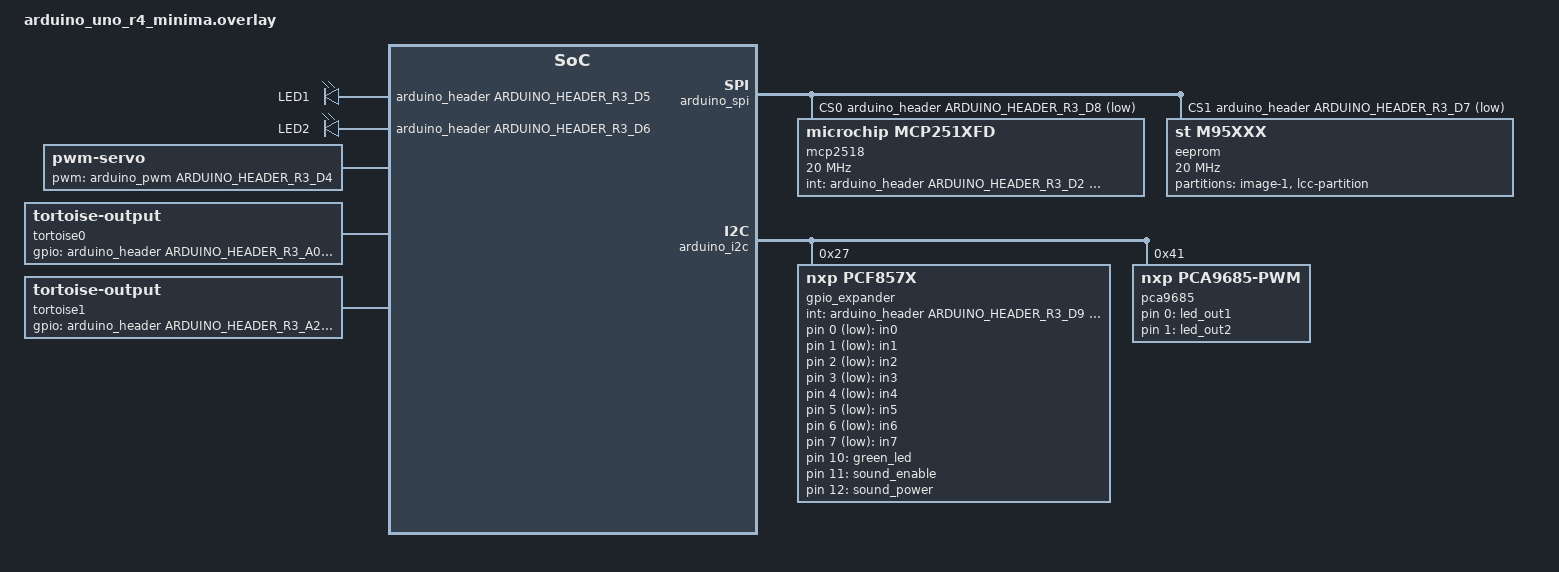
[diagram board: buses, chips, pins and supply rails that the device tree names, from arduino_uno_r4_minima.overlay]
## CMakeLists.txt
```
# SPDX-License-Identifier: Apache-2.0

cmake_minimum_required(VERSION 3.20.0)
find_package(Zephyr REQUIRED HINTS $ENV{ZEPHYR_BASE})
project(LCC-Crossing-Gate)

# Bring in the LCC library
#set(LIBLCC_ENABLE_STATIC_CONTEXT ON)
#add_subdirectory(TrainUtils/LCC)

# Zephyr does not want to play with third party libraries nicely:
# https://github.com/zephyrproject-rtos/zephyr/issues/8439
# So we do the highly annoying thing here of re-creating part of the liblcc cmake file
# in order to bring in all of the sources that we need
set(TRAINUTILS_DIR "${CMAKE_CURRENT_SOURCE_DIR}/../TrainUtils")
include(${TRAINUTILS_DIR}/LCC/lcc-version)

file(GLOB lcc-sources
    ${TRAINUTILS_DIR}/LCC/*.c
    ${TRAINUTILS_DIR}/LCC/*.h
    ${TRAINUTILS_DIR}/DCC/*.h
    ${TRAINUTILS_DIR}/DCC/*.c
)

target_sources(app PRIVATE 
	src/main.c 
	src/crossing-gate-structs.c
	src/crossing-gate-init.c
	src/crossing-gate.c
	${lcc-sources}
	../common/firmware_upgrade.c
	../common/partition_utils.c
	../common/configuration_flusher.c
)
target_include_directories(app PRIVATE
	${TRAINUTILS_DIR}/LCC
	${CMAKE_CURRENT_BINARY_DIR}/TrainUtils/LCC
	${TRAINUTILS_DIR}/DCC
	../common/
)


string(REPLACE "." ";" VERSION_LIST ${LIBLCC_VERSION})
list(GET VERSION_LIST 0 LCC_VERSION_MAJOR)
list(GET VERSION_LIST 1 LCC_VERSION_MINOR)
list(GET VERSION_LIST 2 LCC_VERSION_PATCH)
target_compile_definitions(app PRIVATE
    LIBLCC_BUILD
    LIBLCC_MAJOR=${LCC_VERSION_MAJOR}
    LIBLCC_MINOR=${LCC_VERSION_MINOR}
    LIBLCC_MICRO=${LCC_VERSION_PATCH}
    LIBLCC_HAS_CONFIG_H
)
set(LIBLCC_DEBUG 0)
set(LIBLCC_ENABLE_STATIC_CONTEXT 1)
set(LIBLCC_EVENT_LIST_STATIC_SIZE 32)
set(PROJECT_VERSION_MAJOR ${LCC_VERSION_MAJOR})
set(PROJECT_VERSION_MINOR ${LCC_VERSION_MINOR})
set(PROJECT_VERSION_PATCH ${LCC_VERSION_PATCH})
configure_file( ${TRAINUTILS_DIR}/LCC/lcc-config.h.cmake TrainUtils/LCC/lcc-config.h )
```

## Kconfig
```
mainmenu "LCC Crossing Gate"

source "Kconfig.zephyr"
config LCC_CROSSING_GATE
	default y
	bool

select EEPROM if BOARD_ARDUINO_UNO_R4
```

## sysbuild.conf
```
# Sysbuild configuration file.

# Enable MCUboot per default for this sample.
SB_CONFIG_BOOTLOADER_MCUBOOT=y
#SB_CONFIG_BOOT_SIGNATURE_TYPE_NONE=y
SB_CONFIG_BOOT_SIGNATURE_KEY_FILE="${APP_DIR}/lcc-crossing-gate.pem"
```

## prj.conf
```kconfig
CONFIG_SERIAL=y
CONFIG_SPI=y
CONFIG_SYS_CLOCK_TICKS_PER_SEC=100000
CONFIG_COUNTER=y
CONFIG_GPIO=y
CONFIG_LOG=y
CONFIG_LOG_MODE_DEFERRED=y
CONFIG_LOG_BUFFER_SIZE=2048
CONFIG_LOG_DEFAULT_LEVEL=3
CONFIG_CONSOLE=y
CONFIG_BOOTLOADER_MCUBOOT=y
CONFIG_MCUBOOT_SIGNATURE_KEY_FILE="/home/robert/train-stuff/lcc-tortoise/lcc-tortoise/lcc-crossing-gate/lcc-crossing-gate.pem"
CONFIG_ARM_MPU=y
# CONFIG_INIT_ARCH_HW_AT_BOOT is not set
CONFIG_POLL=y
CONFIG_ADC=y
CONFIG_FLASH=y
CONFIG_CAN=y
CONFIG_UART_CONSOLE=y
CONFIG_UART_LINE_CTRL=y
CONFIG_LED=y
CONFIG_PINCTRL_DYNAMIC=y
CONFIG_PWM=y
CONFIG_CONSOLE_SUBSYS=y
CONFIG_CONSOLE_GETLINE=y
CONFIG_IMG_MANAGER=y
CONFIG_MCUBOOT_UPDATE_FOOTER_SIZE=0x1800
CONFIG_FLASH_MAP=y
CONFIG_STREAM_FLASH=y
CONFIG_ROM_END_OFFSET=0x1800
CONFIG_KERNEL_BIN_NAME="lcc-crossing-gate"
CONFIG_REBOOT=y
CONFIG_LOG_BACKEND_UART=y
CONFIG_UART_ASYNC_API=y
CONFIG_DMA=y
CONFIG_I2C=y
```

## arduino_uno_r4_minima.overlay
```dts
/ {
	chosen {
		zephyr,code-partition = &slot0_partition;
		zephyr,canbus = &mcp2518;
	};

	inputs {
		compatible = "gpio-keys";
		debounce-interval-ms = <0>;

		in0: input0 {
			label = "in0";
			gpios = <&gpio_expander 0 GPIO_ACTIVE_LOW>;
		};
		in1: input1 {
			label = "in1";
			gpios = <&gpio_expander 1 GPIO_ACTIVE_LOW>;
		};
		in2: input2 {
			label = "in2";
			gpios = <&gpio_expander 2 GPIO_ACTIVE_LOW>;
		};
		in3: input3 {
			label = "in3";
			gpios = <&gpio_expander 3 GPIO_ACTIVE_LOW>;
		};
		in4: input4 {
			label = "in4";
			gpios = <&gpio_expander 4 GPIO_ACTIVE_LOW>;
		};
		in5: input5 {
			label = "in5";
			gpios = <&gpio_expander 5 GPIO_ACTIVE_LOW>;
		};
		in6: input6 {
			label = "in6";
			gpios = <&gpio_expander 6 GPIO_ACTIVE_LOW>;
		};
		in7: input7 {
			label = "in7";
			gpios = <&gpio_expander 7 GPIO_ACTIVE_LOW>;
		};
	};

	leds: leds {
		compatible = "gpio-leds";
		gold_led: led_1 {
			gpios = <&arduino_header ARDUINO_HEADER_R3_D5 GPIO_ACTIVE_HIGH>;
			label = "LED1";
		};
		blue_led: led_2 {
			gpios = <&arduino_header ARDUINO_HEADER_R3_D6 GPIO_ACTIVE_HIGH>;
			label = "LED2";
		};
		green_led: led_3 {
			gpios = <&gpio_expander 10 GPIO_ACTIVE_HIGH>;
		};

		sound_enable: sound_en {
			gpios = <&gpio_expander 11 GPIO_ACTIVE_HIGH>;
			label = "sound_enable";
		};
		sound_power: sound_pwr {
			gpios = <&gpio_expander 12 GPIO_ACTIVE_HIGH>;
			label = "sound_power";
		};

	};

	pwm_leds2 {
		compatible = "pwm-leds";
		status = "okay";

		led_out1: led_4 {
			pwms = <&pca9685 0 PWM_MSEC(1) PWM_POLARITY_NORMAL>;
		};
		led_out2: led_5 {
			pwms = <&pca9685 1 PWM_MSEC(1) PWM_POLARITY_NORMAL>;
		};
	};

	servo: servo {
		compatible = "pwm-servo";
		pwms = <&arduino_pwm ARDUINO_HEADER_R3_D4 PWM_MSEC(20) PWM_POLARITY_NORMAL>;
		min-pulse = <PWM_USEC(700)>;
		max-pulse = <PWM_USEC(2500)>;
	};

	tortoise0: tort0 {
		compatible = "tortoise-output";
		gpios = <&arduino_header ARDUINO_HEADER_R3_A0 GPIO_ACTIVE_HIGH>,
		        <&arduino_header ARDUINO_HEADER_R3_A1 GPIO_ACTIVE_HIGH>;
		status = "okay";
        };
	tortoise1: tort1 {
		compatible = "tortoise-output";
		gpios = <&arduino_header ARDUINO_HEADER_R3_A2 GPIO_ACTIVE_HIGH>,
		        <&arduino_header ARDUINO_HEADER_R3_A3 GPIO_ACTIVE_HIGH>;
		status = "okay";
        };
};

&arduino_spi {
	cs-gpios = <&arduino_header ARDUINO_HEADER_R3_D8 GPIO_ACTIVE_LOW>,
		<&arduino_header ARDUINO_HEADER_R3_D7 GPIO_ACTIVE_LOW>;

	mcp2518: mcp2518@0 {
		compatible = "microchip,mcp251xfd";
		reg = <0x0>;
		status = "okay";

		spi-max-frequency = <DT_FREQ_M(20)>;
		int-gpios = <&arduino_header ARDUINO_HEADER_R3_D2 GPIO_ACTIVE_LOW>;
		osc-freq = <DT_FREQ_M(16)>;
	};

	eeprom@1 {
		compatible = "st,m95xxx", "atmel,at25";
		reg = <0x1>;
		status = "okay";
		size = <DT_SIZE_K(256)>;
		pagesize = <256>;
		address-width = <24>;
		spi-max-frequency = <DT_FREQ_M(20)>;
		timeout = <5>;

		partitions {
			compatible = "fixed-partitions";
			#address-cells = <1>;
			#size-cells = <1>;
			slot1_partition: partition@0000 {
				label = "image-1";
				reg = <0x0000 DT_SIZE_K(156)>;
			};

			/*
			 * 2k for LCC ID data
			 */
			lcc_partition: partition@27000 {
				label = "lcc-partition";
				reg = <0x0027000 DT_SIZE_K(2)>;
			};

		};
	};

};

&flash0 {
	/delete-node/ partitions;
	partitions {
		compatible = "fixed-partitions";
		#address-cells = <1>;
		#size-cells = <1>;

		/* We have 256k of flash, so let's not worry too much about space */
		boot_partition: partition@0 {
			label = "bootloader";
			reg = <0x00000000 DT_SIZE_K(48)>;
			read-only;
		};
		slot0_partition: partition@C000 {
			label = "image-0";
			reg = <0x0000C000 DT_SIZE_K(156)>;
		};
	};
};

&arduino_i2c {
	gpio_expander: pcf8574@27 {
		compatible = "nxp,pcf857x";
		reg = <0x27>;
		gpio-controller;
		ngpios = <16>;
		#gpio-cells = <2>;
		int-gpios = <&arduino_header ARDUINO_HEADER_R3_D9 GPIO_ACTIVE_LOW>;
	};

	pca9685: pca9685@41 {
		compatible = "nxp,pca9685-pwm";
		status = "okay";
		reg = <0x41>;
		#pwm-cells = <3>;
	};
};

/*
&pwm3 {
	pinctrl-0 = <&pwm3_default>;
	pinctrl-names = "default";
	interrupts = <8 1>, <9 1>;
	interrupt-names = "gtioca", "overflow";
	status = "okay";
};
*/
```

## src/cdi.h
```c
/*
 * cdi.h
 *
 *  Created on: Mar 19, 2026
 *      Author: robert
 */

#ifndef LCC_CROSSING_GATE_SRC_CDI_H_
#define LCC_CROSSING_GATE_SRC_CDI_H_

#include "app_version.h"

const char* CDI_XML = "<?xml version='1.0'?> \
<cdi xmlns:xsi='http://www.w3.org/2001/XMLSchema-instance' xsi:noNamespaceSchemaLocation='http://openlcb.org/schema/cdi/1/1/cdi.xsd'> \
<identification> \
<manufacturer>Snowball Creek Electronics</manufacturer> \
<model>Crossing Gate Controller</model> \
<hardwareVersion>P2</hardwareVersion> \
<softwareVersion>" APP_VERSION_STRING "</softwareVersion> \
</identification> \
<acdi/> \
<segment space='251'> \
<name>Node ID</name> \
<group> \
<name>Your name and description for this node</name> \
<string size='63'> \
<name>Node Name</name> \
</string> \
<string size='64' offset='1'> \
<name>Node Description</name> \
</string> \
</group> \
</segment> \
<segment space='253'> \
<name>Routes</name> \
<group replication='16'> \
<repname>Route</repname> \
<string size='63'> \
<name>Route Name</name> \
<description>A name for this route(ex: Track 1 Westbound, Track 1 West -&gt; Track 2)</description> \
</string> \
<int size='1'> \
<name>Enabled</name> \
<description>Should this route be enabled or not?</description> \
<map> \
<relation> \
<property>0</property> \
<value>Disabled</value> \
</relation> \
<relation> \
<property>1</property> \
<value>Enabled</value> \
</relation> \
</map> \
</int> \
<group replication='4'> \
<name>Route Sensors</name> \
<repname>Sensor Inputs</repname> \
<string size='27'> \
<name>Sensor Name</name> \
<description>Sensor used for the route.  Only used for debug purposes</description> \
</string> \
<int size='1'> \
<name>Enabled</name> \
<description>Is this sensor used or not?</description> \
<map> \
<relation> \
<property>0</property> \
<value>Disabled</value> \
</relation> \
<relation> \
<property>1</property> \
<value>Enabled</value> \
</relation> \
</map> \
</int> \
<int size='1'> \
<name>Input type</name> \
<description>Inputs can be either on the board itself, or come from a remote board using Event IDs</description> \
<map> \
<relation> \
<property>0</property> \
<value>Board input</value> \
</relation> \
<relation> \
<property>1</property> \
<value>Remote input(Event ID)</value> \
</relation> \
</map> \
</int> \
<int size='1'> \
<name>Sensor input</name> \
<map> \
<relation> \
<property>0</property> \
<value>Input 1</value> \
</relation> \
<relation> \
<property>1</property> \
<value>Input 2</value> \
</relation> \
<relation> \
<property>2</property> \
<value>Input 3</value> \
</relation> \
<relation> \
<property>3</property> \
<value>Input 4</value> \
</relation> \
<relation> \
<property>4</property> \
<value>Input 5</value> \
</relation> \
<relation> \
<property>5</property> \
<value>Input 6</value> \
</relation> \
<relation> \
<property>6</property> \
<value>Input 7</value> \
</relation> \
<relation> \
<property>7</property> \
<value>Input 8</value> \
</relation> \
<relation> \
<property>8</property> \
<value>External input 0</value> \
</relation> \
<relation> \
<property>9</property> \
<value>External input 1</value> \
</relation> \
<relation> \
<property>10</property> \
<value>External input 2</value> \
</relation> \
<relation> \
<property>11</property> \
<value>External input 3</value> \
</relation> \
<relation> \
<property>12</property> \
<value>External input 4</value> \
</relation> \
<relation> \
<property>13</property> \
<value>External input 5</value> \
</relation> \
<relation> \
<property>14</property> \
<value>External input 6</value> \
</relation> \
<relation> \
<property>15</property> \
<value>External input 7</value> \
</relation> \
<relation> \
<property>16</property> \
<value>External input 10</value> \
</relation> \
<relation> \
<property>17</property> \
<value>External input 11</value> \
</relation> \
<relation> \
<property>18</property> \
<value>External input 12</value> \
</relation> \
<relation> \
<property>19</property> \
<value>External input 13</value> \
</relation> \
<relation> \
<property>20</property> \
<value>External input 14</value> \
</relation> \
<relation> \
<property>21</property> \
<value>External input 15</value> \
</relation> \
<relation> \
<property>22</property> \
<value>External input 16</value> \
</relation> \
<relation> \
<property>23</property> \
<value>External input 17</value> \
</relation> \
</map> \
</int> \
<int size='1'> \
<name>Polarity</name> \
<description>Polarity is only used if using an input on the board</description> \
<map> \
<relation> \
<property>0</property> \
<value>Normal</value> \
</relation> \
<relation> \
<property>1</property> \
<value>Reversed</value> \
</relation> \
</map> \
</int> \
<eventid offset='1'> \
<name>Event sensor on</name> \
<description>The event ID consumed by this device to indicate that the sensor is active</description> \
</eventid> \
<eventid> \
<name>Event sensor off</name> \
<description>The event ID consumed by this device to indicate that the sensor is inactive</description> \
</eventid> \
</group> \
<group replication='8'> \
<name>Switches on route</name> \
<repname>Switch Inputs</repname> \
<string size='27'> \
<name>Switch Name</name> \
<description>Switch used for the route.  Only used for debug purposes</description> \
</string> \
<int size='1'> \
<name>Enabled</name> \
<description>Is this switch used or not?</description> \
<map> \
<relation> \
<property>0</property> \
<value>Disabled</value> \
</relation> \
<relation> \
<property>1</property> \
<value>Enabled</value> \
</relation> \
</map> \
</int> \
<int size='1'> \
<name>Input type</name> \
<description>Inputs can be either on the board itself, or come from a remote board using Event IDs</description> \
<map> \
<relation> \
<property>0</property> \
<value>Board input</value> \
</relation> \
<relation> \
<property>1</property> \
<value>Remote input(Event ID)</value> \
</relation> \
</map> \
</int> \
<int size='1'> \
<name>Sensor input</name> \
<map> \
<relation> \
<property>0</property> \
<value>Input 1</value> \
</relation> \
<relation> \
<property>1</property> \
<value>Input 2</value> \
</relation> \
<relation> \
<property>2</property> \
<value>Input 3</value> \
</relation> \
<relation> \
<property>3</property> \
<value>Input 4</value> \
</relation> \
<relation> \
<property>4</property> \
<value>Input 5</value> \
</relation> \
<relation> \
<property>5</property> \
<value>Input 6</value> \
</relation> \
<relation> \
<property>6</property> \
<value>Input 7</value> \
</relation> \
<relation> \
<property>7</property> \
<value>Input 8</value> \
</relation> \
<relation> \
<property>8</property> \
<value>External input 0</value> \
</relation> \
<relation> \
<property>9</property> \
<value>External input 1</value> \
</relation> \
<relation> \
<property>10</property> \
<value>External input 2</value> \
</relation> \
<relation> \
<property>11</property> \
<value>External input 3</value> \
</relation> \
<relation> \
<property>12</property> \
<value>External input 4</value> \
</relation> \
<relation> \
<property>13</property> \
<value>External input 5</value> \
</relation> \
<relation> \
<property>14</property> \
<value>External input 6</value> \
</relation> \
<relation> \
<property>15</property> \
<value>External input 7</value> \
</relation> \
<relation> \
<property>16</property> \
<value>External input 10</value> \
</relation> \
<relation> \
<property>17</property> \
<value>External input 11</value> \
</relation> \
<relation> \
<property>18</property> \
<value>External input 12</value> \
</relation> \
<relation> \
<property>19</property> \
<value>External input 13</value> \
</relation> \
<relation> \
<property>20</property> \
<value>External input 14</value> \
</relation> \
<relation> \
<property>21</property> \
<value>External input 15</value> \
</relation> \
<relation> \
<property>22</property> \
<value>External input 16</value> \
</relation> \
<relation> \
<property>23</property> \
<value>External input 17</value> \
</relation> \
</map> \
</int> \
<int size='1'> \
<name>Polarity</name> \
<description>Polarity is only used if using an input on the board</description> \
<map> \
<relation> \
<property>0</property> \
<value>Normal</value> \
</relation> \
<relation> \
<property>1</property> \
<value>Reversed</value> \
</relation> \
</map> \
</int> \
<int size='1'> \
<name>Route position</name> \
<description>The position that the switch needs to be in for this route to be valid</description> \
<map> \
<relation> \
<property>0</property> \
<value>Normal</value> \
</relation> \
<relation> \
<property>1</property> \
<value>Reversed</value> \
</relation> \
</map> \
</int> \
<eventid> \
<name>Event switch normal</name> \
<description>The event ID consumed by this device to indicate that the switch is in the normal position</description> \
</eventid> \
<eventid> \
<name>Event switch reversed</name> \
<description>The event ID consumed by this device to indicate that the switch is in the reversed position</description> \
</eventid> \
</group> \
</group> \
</segment> \
<segment space='252'> \
<name>General Events</name> \
<eventid> \
<name>Gate Active Event</name> \
<description>This event is sent(produced) by this node when the gates are active</description> \
</eventid> \
<eventid> \
<name>Gate Deactivated Event</name> \
<description>This event is sent(produced) by this node when the gates are deactivated</description> \
</eventid> \
<eventid> \
<name>Manual Activation</name> \
<description>This event is received(consumed) by this node in order to trigger the gates to become activated</description> \
</eventid> \
<group replication='8'> \
<repname>Inputs</repname> \
<string size='24'> \
<name>Input Name</name> \
</string> \
<eventid> \
<name>Input activated</name> \
<description>This event is sent(produced) by this node when the input is activated</description> \
</eventid> \
<eventid> \
<name>Input deactivated</name> \
<description>This event is sent(produced) by this node when the input is deactivated</description> \
</eventid> \
</group> \
</segment> \
<segment space='250'> \
<name>General Config</name> \
<int size='1'> \
<name>Timeout</name> \
<description>Timeout value for the system to reset and become 'inactive.'  This value is in seconds</description> \
<min>0</min> \
<max>120</max> \
<default>25</default> \
</int> \
<int size='1'> \
<name>Bell Behavior</name> \
<description>How the bell output should behave</description> \
<map> \
<relation> \
<property>0</property> \
<value>No ring</value> \
</relation> \
<relation> \
<property>1</property> \
<value>Ring while gates lowering</value> \
</relation> \
<relation> \
<property>2</property> \
<value>Ring while gates raising</value> \
</relation> \
<relation> \
<property>3</property> \
<value>Ring while gates lowering and raising</value> \
</relation> \
<relation> \
<property>4</property> \
<value>Ring while gates are active</value> \
</relation> \
</map> \
</int> \
<int size='2'> \
<name>Bell ring time</name> \
<description>Bell ring time(in milliseconds) when gates are raising/lowering</description> \
<min>0</min> \
<max>10000</max> \
</int> \
<int size='1'> \
<name>External GPIO active</name> \
<description>Configure the external GPIO expander.  Requires reboot to take effect.</description> \
<map> \
<relation> \
<property>0</property> \
<value>Disabled</value> \
</relation> \
<relation> \
<property>1</property> \
<value>Enabled</value> \
</relation> \
</map> \
</int> \
</segment> \
<segment space='249'> \
<name>LED/Servo config</name> \
<group replication='3'> \
<repname>PWM Bank Configuration</repname> \
<int size='1'> \
<name>Bank usage</name> \
<map> \
<relation> \
<property>0</property> \
<value>LED</value> \
</relation> \
<relation> \
<property>1</property> \
<value>Servo</value> \
</relation> \
</map> \
</int> \
<int size='1'> \
<name>LED Polarity</name> \
<map> \
<relation> \
<property>0</property> \
<value>Normal(PWM to GND)</value> \
</relation> \
<relation> \
<property>1</property> \
<value>Reversed(PWM to 5v)</value> \
</relation> \
</map> \
</int> \
<int size='1'> \
<name>Output 1 Usage</name> \
<map> \
<relation> \
<property>0</property> \
<value>[LED]Phase A blink</value> \
</relation> \
<relation> \
<property>1</property> \
<value>[LED]Phase B blink</value> \
</relation> \
<relation> \
<property>20</property> \
<value>[Servo]Gate Control</value> \
</relation> \
</map> \
</int> \
<int size='1'> \
<name>Output 2 Usage</name> \
<map> \
<relation> \
<property>0</property> \
<value>[LED]Phase A blink</value> \
</relation> \
<relation> \
<property>1</property> \
<value>[LED]Phase B blink</value> \
</relation> \
<relation> \
<property>20</property> \
<value>[Servo]Gate Control</value> \
</relation> \
</map> \
</int> \
<int size='2'> \
<name>Servo 1 Up position(us)</name> \
<description>The value to set the servo to in order to put the gates into the up position</description> \
<min>1000</min> \
<max>2000</max> \
<hints> \
<slider divisions='100' immediate='yes'/> \
</hints> \
</int> \
<int size='2'> \
<name>Servo 1 Down position(us)</name> \
<description>The value to set the servo to in order to put the gates into the down position</description> \
<min>1000</min> \
<max>2000</max> \
<hints> \
<slider divisions='100' immediate='yes'/> \
</hints> \
</int> \
<int size='2'> \
<name>Servo 2 Up position(us)</name> \
<description>The value to set the servo to in order to put the gates into the up position</description> \
<min>1000</min> \
<max>2000</max> \
<hints> \
<slider divisions='100' immediate='yes'/> \
</hints> \
</int> \
<int size='2'> \
<name>Servo 2 Down position(us)</name> \
<description>The value to set the servo to in order to put the gates into the down position</description> \
<min>1000</min> \
<max>2000</max> \
<hints> \
<slider divisions='100' immediate='yes'/> \
</hints> \
</int> \
<int size='1'> \
<name>Servo speed</name> \
<description>How fast the servo should move.  1 = slowest speed, 5 = fastest speed</description> \
<min>1</min> \
<max>5</max> \
</int> \
<!-- align to 32 bytes --> \
<group offset='19'/> \
</group> \
</segment> \
</cdi>";

#endif /* LCC_CROSSING_GATE_SRC_CDI_H_ */
```

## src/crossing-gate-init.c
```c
/*
 * crossing-gate-init.c
 *
 *  Created on: Jun 14, 2025
 *      Author: robert
 */

#include <string.h>
#include <stdio.h>
#include <zephyr/kernel.h>
#include <zephyr/sys/util.h>
#include <zephyr/drivers/gpio.h>
#include <zephyr/drivers/led.h>
#include <zephyr/drivers/pwm.h>
#include <zephyr/storage/flash_map.h>
#include <zephyr/logging/log.h>

LOG_MODULE_DECLARE(crossing_gate, LOG_LEVEL_DBG);

static const struct device *gpio_expander_ext = DEVICE_DT_GET(DT_NODELABEL(gpio_expander_ext));

#include "crossing-gate-init.h"
#include "crossing-gate.h"
#include "partition_utils.h"

// The global singleton instance
struct crossing_gate crossing_gate_state = {
		.gate_flash_state = FLASH_OFF,
		.blue_button = GPIO_DT_SPEC_GET(DT_NODELABEL(blue_switch), gpios),
		.gold_button = GPIO_DT_SPEC_GET(DT_NODELABEL(gold_switch), gpios),
		.config_mode = CONFIG_MODE_NORMAL,
//		.crossing_routes = {0},
		.inputs = {
				GPIO_DT_SPEC_GET(DT_NODELABEL(in0), gpios),
				GPIO_DT_SPEC_GET(DT_NODELABEL(in1), gpios),
				GPIO_DT_SPEC_GET(DT_NODELABEL(in2), gpios),
				GPIO_DT_SPEC_GET(DT_NODELABEL(in3), gpios),
				GPIO_DT_SPEC_GET(DT_NODELABEL(in4), gpios),
				GPIO_DT_SPEC_GET(DT_NODELABEL(in5), gpios),
				GPIO_DT_SPEC_GET(DT_NODELABEL(in6), gpios),
				GPIO_DT_SPEC_GET(DT_NODELABEL(in7), gpios),
		},
		.tortoise_control = {
				{
					.gpios = {
							GPIO_DT_SPEC_GET_BY_IDX(DT_NODELABEL(tortoise0), gpios, 1),
							GPIO_DT_SPEC_GET_BY_IDX(DT_NODELABEL(tortoise0), gpios, 0)
					}
				},
				{
						.gpios = {
							GPIO_DT_SPEC_GET_BY_IDX(DT_NODELABEL(tortoise1), gpios, 1),
							GPIO_DT_SPEC_GET_BY_IDX(DT_NODELABEL(tortoise1), gpios, 0)
					},
				},
		},
		.bell = {
				.enable = GPIO_DT_SPEC_GET(DT_PATH(zephyr_user), sound_gpios),
				.time_millis = 0,
				.ring_type = BELL_RING_NONE,
		},
		.pwm_banks = {
				{
					.led_pwm = DEVICE_DT_GET(DT_NODELABEL(pwm_bank_1)),
					.servo_ch = {
							PWM_DT_SPEC_GET(DT_NODELABEL(led_out1)),
							PWM_DT_SPEC_GET(DT_NODELABEL(led_out2)),
					},
					.config = NULL,
				},
				{
					.led_pwm = DEVICE_DT_GET(DT_NODELABEL(pwm_bank_2)),
					.servo_ch = {
							PWM_DT_SPEC_GET(DT_NODELABEL(led_out3)),
							PWM_DT_SPEC_GET(DT_NODELABEL(led_out4)),
					},
					.config = NULL,
				},
				{
					.led_pwm = DEVICE_DT_GET(DT_NODELABEL(pwm_bank_3)),
					.servo_ch = {
							PWM_DT_SPEC_GET(DT_NODELABEL(led_out5)),
							PWM_DT_SPEC_GET(DT_NODELABEL(led_out6)),
					},
					.config = NULL,
				},
		},
		.tortoise_power = GPIO_DT_SPEC_GET(DT_PATH(zephyr_user), tortoise_power_gpios),
		.power_5v = GPIO_DT_SPEC_GET(DT_PATH(zephyr_user), power_5v_gpios),
		.ext_i2c_enable = GPIO_DT_SPEC_GET(DT_PATH(zephyr_user), ext_i2c_enable_gpios),
		.external_inputs = {
				GPIO_DT_SPEC_GET(DT_NODELABEL(extin0), gpios),
				GPIO_DT_SPEC_GET(DT_NODELABEL(extin1), gpios),
				GPIO_DT_SPEC_GET(DT_NODELABEL(extin2), gpios),
				GPIO_DT_SPEC_GET(DT_NODELABEL(extin3), gpios),
				GPIO_DT_SPEC_GET(DT_NODELABEL(extin4), gpios),
				GPIO_DT_SPEC_GET(DT_NODELABEL(extin5), gpios),
				GPIO_DT_SPEC_GET(DT_NODELABEL(extin6), gpios),
				GPIO_DT_SPEC_GET(DT_NODELABEL(extin7), gpios),
				GPIO_DT_SPEC_GET(DT_NODELABEL(extin8), gpios),
				GPIO_DT_SPEC_GET(DT_NODELABEL(extin9), gpios),
				GPIO_DT_SPEC_GET(DT_NODELABEL(extin10), gpios),
				GPIO_DT_SPEC_GET(DT_NODELABEL(extin11), gpios),
				GPIO_DT_SPEC_GET(DT_NODELABEL(extin12), gpios),
				GPIO_DT_SPEC_GET(DT_NODELABEL(extin13), gpios),
				GPIO_DT_SPEC_GET(DT_NODELABEL(extin14), gpios),
				GPIO_DT_SPEC_GET(DT_NODELABEL(extin15), gpios),
		},
};

static struct gpio_callback cb_data[24];

static void input_change(const struct device *dev, struct gpio_callback *cb,
		    uint32_t pins)
{
	int real_pin = -1;

	// Map between the bitmask and our pin input
	for(int bit_num = 0; bit_num < 16; bit_num++){
		if(pins == BIT(bit_num)){
			real_pin = bit_num;
		}
	}

	if(real_pin < 0){
		return;
	}

	if(dev == gpio_expander_ext){
		real_pin += 8;
	}

	k_msgq_put(&crossing_gate_state.pin_change_msgq, &real_pin, K_NO_WAIT);
}

static void init_button(const struct gpio_dt_spec* button){
	if (!gpio_is_ready_dt(button)) {
		return;
	}
	gpio_pin_configure_dt(button, GPIO_INPUT);
	gpio_pin_interrupt_configure_dt(button, GPIO_INT_EDGE_BOTH);
}

static void init_input(const struct gpio_dt_spec* in, struct gpio_callback* cb_data){
	if (!gpio_is_ready_dt(in)) {
		return;
	}

	if(gpio_pin_configure_dt(in, GPIO_INPUT) < 0){
		return;
	}

	if(gpio_pin_interrupt_configure_dt(in, GPIO_INT_EDGE_BOTH) < 0){
		return;
	}

	gpio_init_callback(cb_data, input_change, BIT(in->pin));
	gpio_add_callback(in->port, cb_data);
}

static void init_tortoise(const struct tortoise* tort){
	if(!gpio_is_ready_dt(&tort->gpios[0])){
		return;
	}
	if(!gpio_is_ready_dt(&tort->gpios[1])){
		return;
	}

	if(gpio_pin_configure_dt(&tort->gpios[0], GPIO_OUTPUT) < 0){
		return;
	}
	if(gpio_pin_configure_dt(&tort->gpios[1], GPIO_OUTPUT) < 0){
		return;
	}
}

static void init_single_route(int route_num){
	struct route* current_route = &crossing_gate_state.crossing_routes[route_num];
	struct route_config* route_config = &crossing_gate_state.routes_config.all_routes[route_num];
	current_route->config = route_config;

	for(int sensor = 0; sensor < ARRAY_SIZE(current_route->sensors); sensor++){
		struct sensor_input* input = &current_route->sensors[sensor];
		input->config = &route_config->inputs[sensor];
		sensor_input_init(input, &crossing_gate_state.inputs[input->config->sensor_input]);
	}

	for(int turnout = 0; turnout < ARRAY_SIZE(current_route->switch_inputs); turnout++){
		struct switch_input* input = &current_route->switch_inputs[turnout];
		input->config = &route_config->switch_inputs[turnout];
		switch_input_init(input, &crossing_gate_state.inputs[input->config->swithc_input]);
	}
}

static int sensors_share_input(struct sensor_config* a, struct sensor_config* b){
	if(!a->sensor_enabled || !b->sensor_enabled){
		return 0;
	}
	if(a->sensor_type == 0 && b->sensor_type == 0){
		return a->sensor_input == b->sensor_input;
	}
	// Event-based: check if any event IDs overlap
	if(a->BE_event_sensor_on != 0 &&
			(a->BE_event_sensor_on == b->BE_event_sensor_on ||
			 a->BE_event_sensor_on == b->BE_event_sensor_off)){
		return 1;
	}
	if(a->BE_event_sensor_off != 0 &&
			(a->BE_event_sensor_off == b->BE_event_sensor_on ||
			 a->BE_event_sensor_off == b->BE_event_sensor_off)){
		return 1;
	}
	return 0;
}

static void crossing_gate_compute_neighbors(){
	for(int i = 0; i < NUM_ROUTES; i++){
		crossing_gate_state.crossing_routes[i].neighbor_routes_mask = 0;
	}

	for(int i = 0; i < NUM_ROUTES; i++){
		struct route_config* cfg_i = &crossing_gate_state.routes_config.all_routes[i];
		if(!cfg_i->route_enabled) continue;

		for(int j = i + 1; j < NUM_ROUTES; j++){
			struct route_config* cfg_j = &crossing_gate_state.routes_config.all_routes[j];
			if(!cfg_j->route_enabled) continue;

			int is_neighbor = 0;
			for(int si = 0; si < ARRAY_SIZE(cfg_i->inputs) && !is_neighbor; si++){
				for(int sj = 0; sj < ARRAY_SIZE(cfg_j->inputs) && !is_neighbor; sj++){
					if(sensors_share_input(&cfg_i->inputs[si], &cfg_j->inputs[sj])){
						is_neighbor = 1;
					}
				}
			}

			if(is_neighbor){
				crossing_gate_state.crossing_routes[i].neighbor_routes_mask |= (1 << j);
				crossing_gate_state.crossing_routes[j].neighbor_routes_mask |= (1 << i);
				LOG_DBG("Routes %d and %d share a sensor: neighbor inhibit enabled", i, j);
			}
		}
	}
}

void crossing_gate_do_external_gpio_config(void)
{
	if(!crossing_gate_state.general_config.external_gpio_expander){
		LOG_INF("External GPIO expander not configured: not initializing");
		return;
	}
	if (device_init(gpio_expander_ext) != 0) {
		LOG_ERR("External GPIO expander init failed");
		return;
	}
	for(int x = 0; x < ARRAY_SIZE(crossing_gate_state.external_inputs); x++){
		init_input(&crossing_gate_state.external_inputs[x], &cb_data[x + 8]);
	}
}

void crossing_gate_load_config(){
	partition_util_load(FIXED_PARTITION_ID(segment_253),
			&crossing_gate_state.routes_config,
			sizeof(crossing_gate_state.routes_config));
	partition_util_load(FIXED_PARTITION_ID(segment_252),
			&crossing_gate_state.general_events,
			sizeof(crossing_gate_state.general_events));
	partition_util_load(FIXED_PARTITION_ID(segment_251),
			&crossing_gate_state.node_info,
			sizeof(crossing_gate_state.node_info));
	partition_util_load(FIXED_PARTITION_ID(segment_250),
			&crossing_gate_state.general_config,
			sizeof(crossing_gate_state.general_config));
	partition_util_load(FIXED_PARTITION_ID(segment_249),
			&crossing_gate_state.pwm_config,
			sizeof(crossing_gate_state.pwm_config));

	// Now that we have loaded the config, we need to update our data structures in RAM so
	// that they are pointed at the correct things
	for(int route_num = 0; route_num < ARRAY_SIZE(crossing_gate_state.crossing_routes); route_num++){
		init_single_route(route_num);
	}

	crossing_gate_compute_neighbors();
}

void crossing_gate_set_default_values(uint64_t base_event_id){
	// Segment 250
	crossing_gate_state.general_config.timeout = 25;
	crossing_gate_state.general_config.bell_behavior = 4;
	crossing_gate_state.general_config.bell_ring_time = 0;
	crossing_gate_state.general_config.external_gpio_expander = 0;

	// Segment 251
	memset(crossing_gate_state.node_info.description, 0, sizeof(crossing_gate_state.node_info.description));
	memset(crossing_gate_state.node_info.name, 0, sizeof(crossing_gate_state.node_info.name));

	// Segment 252
	crossing_gate_state.general_events.BE_gates_active_event = __builtin_bswap64(base_event_id++);
	crossing_gate_state.general_events.BE_gates_inactive_event = __builtin_bswap64(base_event_id++);
	crossing_gate_state.general_events.BE_manual_gates_activate_event = __builtin_bswap64(base_event_id++);
	for(int x = 0; x < ARRAY_SIZE(crossing_gate_state.general_events.inputs); x++){
		memset(crossing_gate_state.general_events.inputs[x].input_name, 0, sizeof(crossing_gate_state.general_events.inputs[x].input_name));
		crossing_gate_state.general_events.inputs[x].BE_input_activated_event = __builtin_bswap64(base_event_id++);
		crossing_gate_state.general_events.inputs[x].BE_input_deactivated_event = __builtin_bswap64(base_event_id++);
	}

	// Segment 253
	for(int x = 0; x < ARRAY_SIZE(crossing_gate_state.routes_config.all_routes); x++){
		struct route_config* cfg = &crossing_gate_state.routes_config.all_routes[x];
		memset(cfg->route_name, 0, sizeof(cfg->route_name));

		for(int y = 0; y < ARRAY_SIZE(cfg->inputs); y++){
			memset(&cfg->inputs[y], 0, sizeof(cfg->inputs[y]));
			cfg->inputs[y].BE_event_sensor_on = __builtin_bswap64(base_event_id++);
			cfg->inputs[y].BE_event_sensor_off = __builtin_bswap64(base_event_id++);
		}

		for(int z = 0; z < ARRAY_SIZE(cfg->switch_inputs); z++){
			memset(&cfg->switch_inputs[z], 0, sizeof(cfg->switch_inputs[z]));
			cfg->switch_inputs[z].BE_event_switch_normal = __builtin_bswap64(base_event_id++);
			cfg->switch_inputs[z].BE_event_switch_reversed = __builtin_bswap64(base_event_id++);
		}
	}

	// Segment 249
	memset(&crossing_gate_state.pwm_config, 0, sizeof(struct pwm_output_segment));
	// PWM configuration: set sane default values for the servo positions
	for(int x = 0; x < ARRAY_SIZE(crossing_gate_state.pwm_config.pwm_configs); x++){
		crossing_gate_state.pwm_config.pwm_configs[x].BE_servo1_down_position = __builtin_bswap16(1000);
		crossing_gate_state.pwm_config.pwm_configs[x].BE_servo1_up_position = __builtin_bswap16(2000);
		crossing_gate_state.pwm_config.pwm_configs[x].BE_servo2_down_position = __builtin_bswap16(1000);
		crossing_gate_state.pwm_config.pwm_configs[x].BE_servo2_up_position = __builtin_bswap16(2000);
		crossing_gate_state.pwm_config.pwm_configs[x].servo_speed = 3;
	}

	// The first PWM bank defaults to LED control
	crossing_gate_state.pwm_config.pwm_configs[0].output1_usage = 0;
	crossing_gate_state.pwm_config.pwm_configs[0].output2_usage = 1;

	// The second PWM bank defaults to servo control
	crossing_gate_state.pwm_config.pwm_configs[1].usage = 1;
	crossing_gate_state.pwm_config.pwm_configs[1].output1_usage = 20;
	crossing_gate_state.pwm_config.pwm_configs[1].output2_usage = 20;

	crossing_gate_state.general_config.base_event_id = base_event_id;

	// Now that we have initialized everything to sane values, set up two routes
	// Route 1 uses inputs 1-4, and Route 2 uses inputs 5-8
	struct route_config* route1 = &crossing_gate_state.routes_config.all_routes[0];
	route1->route_enabled = 1;
	strcpy(route1->route_name, "Track 1");
	route1->inputs[0].sensor_enabled = 1;
	route1->inputs[0].sensor_input = 0;
	route1->inputs[1].sensor_enabled = 1;
	route1->inputs[1].sensor_input = 1;
	route1->inputs[2].sensor_enabled = 1;
	route1->inputs[2].sensor_input = 2;
	route1->inputs[3].sensor_enabled = 1;
	route1->inputs[3].sensor_input = 3;

	struct route_config* route2 = &crossing_gate_state.routes_config.all_routes[1];
	route2->route_enabled = 1;
	strcpy(route2->route_name, "Track 2");
	route2->inputs[0].sensor_enabled = 1;
	route2->inputs[0].sensor_input = 4;
	route2->inputs[1].sensor_enabled = 1;
	route2->inputs[1].sensor_input = 5;
	route2->inputs[2].sensor_enabled = 1;
	route2->inputs[2].sensor_input = 6;
	route2->inputs[3].sensor_enabled = 1;
	route2->inputs[3].sensor_input = 7;
}

void crossing_gate_init(){
	k_msgq_init(&crossing_gate_state.pin_change_msgq, (char*)crossing_gate_state.pin_changemsgq_buffer, sizeof(int), 10);

	memset(crossing_gate_state.crossing_routes, 0, sizeof(crossing_gate_state.crossing_routes));
	for(int x = 0; x < ARRAY_SIZE(crossing_gate_state.crossing_routes); x++){
		k_timer_init(&crossing_gate_state.crossing_routes[x].timeout, crossing_gate_timer_expired, NULL);
		k_timer_init(&crossing_gate_state.crossing_routes[x].reactivation_timeout, crossing_gate_reactivation_expired, NULL);
		crossing_gate_state.crossing_routes[x].config = &(crossing_gate_state.routes_config.all_routes[x]);
		crossing_gate_state.crossing_routes[x].can_be_activated = 1;
	}

	for(int x = 0; x < ARRAY_SIZE(crossing_gate_state.inputs); x++){
		init_input(&crossing_gate_state.inputs[x], &cb_data[x]);
	}

	init_button(&crossing_gate_state.blue_button);
	init_button(&crossing_gate_state.gold_button);

	for(int x = 0; x < 2; x++){
		init_tortoise(&crossing_gate_state.tortoise_control[x]);
	}

	// Enable the power supply for the tortoises (PA1)
	gpio_pin_configure_dt(&crossing_gate_state.tortoise_power, GPIO_OUTPUT);
	gpio_pin_set_dt(&crossing_gate_state.tortoise_power, 1);

	// Enable external I2C bus (PA4)
	gpio_pin_configure_dt(&crossing_gate_state.ext_i2c_enable, GPIO_OUTPUT);
	gpio_pin_set_dt(&crossing_gate_state.ext_i2c_enable, 1);

	crossing_gate_raise_arms();

	gpio_pin_configure_dt(&crossing_gate_state.bell.enable, GPIO_OUTPUT);

	crossing_gate_state.gridconnect = lcc_gridconnect_new();

	k_timer_init(&crossing_gate_state.bell_disable_timer, crossing_gate_bell_timer_expired, NULL);
}

void crossing_gate_do_pwm_config(){
	for(int x = 0; x < ARRAY_SIZE(crossing_gate_state.pwm_config.pwm_configs); x++){
		struct pwm_bank* bank = &crossing_gate_state.pwm_banks[x];
		struct pwm_output_config* cfg = &crossing_gate_state.pwm_config.pwm_configs[x];
		int is_led = cfg->usage == 0;
		bank->config = cfg;
		LOG_DBG("Bank %d is set for %s", x,  is_led ? "LED" : "Servo");

		if(is_led){
			// Turn the LED off
			led_set_brightness(bank->led_pwm, 0, 0);
		}else{
			// Set the servo to an initial state
			const struct pwm_dt_spec *ch = bank->servo_ch;

			bank->servo1_current_pos = __builtin_bswap16(cfg->BE_servo1_up_position);
			bank->servo2_current_pos = __builtin_bswap16(cfg->BE_servo2_up_position);
			pwm_set(ch[0].dev, ch[0].channel, PWM_MSEC(20), PWM_USEC(__builtin_bswap16(cfg->BE_servo1_up_position)), ch[0].flags);
			pwm_set(ch[1].dev, ch[1].channel, PWM_MSEC(20), PWM_USEC(__builtin_bswap16(cfg->BE_servo2_up_position)), ch[1].flags);
		}

		k_timer_init(&bank->servo_timer, crossing_gate_servo_timer_expired, NULL);
		k_timer_user_data_set(&bank->servo_timer, bank);
	}

	// Wait a few milliseconds for the PWM to start doing its thing
	k_sleep(K_MSEC(100));

	// Enable 5V power supply (PA2)
	// We must configure the PWM outputs first, so that we don't blow out the servos
	gpio_pin_configure_dt(&crossing_gate_state.power_5v, GPIO_OUTPUT);
	gpio_pin_set_dt(&crossing_gate_state.power_5v, 1);
}
```

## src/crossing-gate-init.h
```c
/*
 * crossing-gate-init.h
 *
 *  Created on: Jun 14, 2025
 *      Author: robert
 */

#ifndef LCC_CROSSING_GATE_SRC_CROSSING_GATE_INIT_H_
#define LCC_CROSSING_GATE_SRC_CROSSING_GATE_INIT_H_

#include <stdint.h>

void crossing_gate_init();

void crossing_gate_load_config();

void crossing_gate_do_pwm_config();
void crossing_gate_do_external_gpio_config();

/**
 * Set all values in RAM to their default settings.  EventIDs are
 * configured based off of base_event_id.
 */
void crossing_gate_set_default_values(uint64_t base_event_id);

#endif /* LCC_CROSSING_GATE_SRC_CROSSING_GATE_INIT_H_ */
```

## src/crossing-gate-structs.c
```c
/*
 * crossing-gate-structs.c
 *
 *  Created on: Jun 9, 2025
 *      Author: robert
 */
#include "crossing-gate-structs.h"
#include "crossing-gate.h"

void sensor_input_init(struct sensor_input* input, struct gpio_dt_spec* gpio){
	input->sensor_gpio = NULL;
	if(input->config->sensor_type == 0){
		// board input
		input->sensor_gpio = gpio;
	}
}

int sensor_input_value(struct sensor_input* input){
	int val = -1;

	if(input->sensor_gpio){
		val = gpio_pin_get_dt(input->sensor_gpio);
		if(input->config->polarity == 1){
			val = !val;
		}
		input->is_on = val;
	}

	return input->is_on;
}

int sensor_input_raw_value(struct sensor_input* input){
	int val = -1;

	if(input->sensor_gpio){
		val = gpio_pin_get_dt(input->sensor_gpio);
		if(input->config->polarity == 1){
			val = !val;
		}
	}

	return val;
}

void sensor_input_handle_event(struct sensor_input* input, uint64_t event_id){
	if(__builtin_bswap64(input->config->BE_event_sensor_on) == event_id){
		input->is_on = 1;
	}else if(__builtin_bswap64(input->config->BE_event_sensor_off) == event_id){
		input->is_on = 0;
	}
}

int sensor_input_valid(struct sensor_input* input){
	return input->config->sensor_enabled;
}

void switch_input_init(struct switch_input* input, struct gpio_dt_spec* gpio){
	input->switch_gpio = NULL;
	if(input->config->switch_input_type == 0){
		// board input
		input->switch_gpio = gpio;
	}
}

int switch_input_enabled(struct switch_input* input){
	return input->config->switch_enabled;
}

int switch_input_value(struct switch_input* input){
  if(input->switch_gpio){
      int val = gpio_pin_get_dt(input->switch_gpio);
      if(input->config->polarity == FLAG_POLARITY_ACTIVE_LOW){
        val = !val;
      }
      return val;
  }

  return input->current_pos;
}

void switch_input_handle_event(struct switch_input* input, uint64_t event_id){
	if(__builtin_bswap64(input->config->BE_event_switch_reversed) == event_id){
		input->current_pos = 1;
	}else if(__builtin_bswap64(input->config->BE_event_switch_normal) == event_id){
		input->current_pos = 0;
	}
}
```

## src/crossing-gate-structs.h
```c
/*
 * crossing-gate-structs.h
 *
 *  Created on: Jun 9, 2025
 *      Author: robert
 */

#ifndef LCC_CROSSING_GATE_SRC_CROSSING_GATE_STRUCTS_H_
#define LCC_CROSSING_GATE_SRC_CROSSING_GATE_STRUCTS_H_

#include <zephyr/drivers/gpio.h>
#include <stdint.h>

#define FLAG_POLARITY (0x01 << 0)
#define FLAG_USE_ANALOG (0x01 << 1)
#define FLAG_POLARITY_ACTIVE_HIGH 0
#define FLAG_POLARITY_ACTIVE_LOW 1

#define ROUTE_SWITCH_INPUT_NORMAL 0
#define ROUTE_SWITCH_INPUT_REVERSE 1

// Layout of the sensor input in EEPROM
struct sensor_input_eeprom{
	uint8_t gpio_number;
	uint8_t gpio_type;
	uint8_t polarity;
	uint8_t padding;
	uint16_t analog_value;
	uint64_t BE_event_id_on;
	uint64_t BE_event_id_off;
	uint16_t BE_debounce_on;
	uint16_t BE_debounce_off;
};

struct switch_input_eeprom{
	uint8_t gpio_number;
	uint8_t polarity;
	uint8_t route_posistion;
	uint8_t padding;
	uint64_t BE_event_id_normal;
	uint64_t BE_eevent_id_reverse;
};

struct sensor_config;
struct sensor_input{
	const struct gpio_dt_spec* sensor_gpio;
	struct sensor_config* config;
	int is_on;
};

struct switch_input_config;
struct switch_input{
	const struct gpio_dt_spec* switch_gpio;
	struct switch_input_config* config;
	int current_pos;
};

enum Direction{
	DIRECTION_UNKNOWN,
	DIRECTION_LTR,
	DIRECTION_RTL,
};

enum TrainLocation{
	LOCATION_UNOCCUPIED,
	LOCATION_PRE_ISLAND_OCCUPIED,
	LOCATION_ISLAND_OCCUPIED_INCOMING,
	LOCATION_ISLAND_OCCUPIED,
	LOCATION_POST_ISLAND_OCCUPIED_INCOMING,
	LOCATION_POST_ISLAND_OCCUPIED,
};

struct train{
	unsigned long last_seen_millis;
	enum Direction direction;
	enum TrainLocation location;
};

struct route_config;
struct route{
	struct route_config* config;
	struct sensor_input sensors[4];
	struct switch_input switch_inputs[8];
	struct train current_train;
	struct k_timer timeout;
	struct k_timer reactivation_timeout;
	uint16_t neighbor_routes_mask;
	int can_be_activated;
};

void sensor_input_init(struct sensor_input* input, struct gpio_dt_spec* gpio);

/**
 * Determine the current value of the sensor input.  Value will be either 0(for inactive) or 1(for active)
 */
int sensor_input_value(struct sensor_input* input);

/**
 * Get the raw value of the input(0 or 1 for digital, 0 to max for analog GPIO),
 * -1 if this sensor input is not going to a GPIO.
 * Does NOT take polarity into account.
 */
int sensor_input_raw_value(struct sensor_input* input);

/**
 * For the given sensor input, notify that input that an event ID has come in.
 * If this sensor input cares about the event ID, it will update itself.
 */
void sensor_input_handle_event(struct sensor_input* input, uint64_t event_id);

/**
 * Check to see if the sensor input is valid.  A valid sensor input has either a GPIO or both event IDs set.
 */
int sensor_input_valid(struct sensor_input* input);

void switch_input_init(struct switch_input* input, struct gpio_dt_spec* gpio);

int switch_input_enabled(struct switch_input* input);

/**
 * Determine the current value of the given switch.  Value will be either
 * 0(for normal) or 1(for reverse)
 */
int switch_input_value(struct switch_input* input);

void switch_input_handle_event(struct switch_input* input, uint64_t event_id);


#endif /* LCC_CROSSING_GATE_SRC_CROSSING_GATE_STRUCTS_H_ */
```

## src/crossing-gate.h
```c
/*
 * crossing-gate.h
 *
 *  Created on: Jun 9, 2025
 *      Author: robert
 */

#ifndef LCC_CROSSING_GATE_SRC_CROSSING_GATE_H_
#define LCC_CROSSING_GATE_SRC_CROSSING_GATE_H_

#include <zephyr/drivers/gpio.h>
#include <zephyr/drivers/pwm.h>
#include <assert.h>

#include "crossing-gate-structs.h"
#include "configuration_flusher.h"

#define NUM_ROUTES 16

enum ConfigMode {
	CONFIG_MODE_NORMAL = 0,
	CONFIG_MODE_GRIDCONNECT = 1,
	CONFIG_MODE_FACTORY_RESET = 2,
	CONFIG_MODE_MAX = 2,
};

enum GateFlashState{
	FLASH_OFF,
	FLASH_ON,
};

enum BellRingType{
	BELL_RING_NONE = 0,
	BELL_RING_LOWER,
	BELL_RING_RAISE,
	BELL_RING_LOWER_AND_RAISE,
	BELL_RING_WHILE_FLASH,
};

enum PWMBankUsage{
	PWM_BANK_LED = 0,
	PWM_BANK_SERVO = 1,
};

enum PWMPolarity{
	CROSSINGGATE_PWM_POLARITY_NORMAL = 0,
	CROSSINGGATE_PWM_POLARITY_REVERSED = 1,
};

enum PWMOutputType {
	PWM_OUTPUT_LED_PHASE_A = 0,
	PWM_OUTPUT_LED_PHASE_B = 1,
	PWM_OUTPUT_GATE_CONTROL = 20,
};

struct tortoise {
	const struct gpio_dt_spec gpios[2];
};

struct bell {
	const struct gpio_dt_spec enable;
	unsigned long time_millis;
	enum BellRingType ring_type;
};

/**
 * Node info - segment 251
 */
struct node_info_segment {
	char name[64];
	char description[64];
};

struct sensor_config {
	char sensor_name[27];
	uint8_t sensor_enabled;
	uint8_t sensor_type;
	uint8_t sensor_input;
	uint8_t polarity;
	uint8_t reserved;
	uint64_t BE_event_sensor_on;
	uint64_t BE_event_sensor_off;
};
_Static_assert(sizeof(struct sensor_config) == 48);

struct switch_input_config {
	char sensor_name[27];
	uint8_t switch_enabled;
	uint8_t switch_input_type;
	uint8_t swithc_input;
	uint8_t polarity;
	uint8_t position_for_route;
	uint64_t BE_event_switch_normal;
	uint64_t BE_event_switch_reversed;
};
_Static_assert(sizeof(struct switch_input_config) == 48);

struct route_config {
	char route_name[63];
	char route_enabled;
	struct sensor_config inputs[4];
	struct switch_input_config switch_inputs[8];
};
_Static_assert(sizeof(struct route_config) == 640);

/**
 * Route info - segment 253
 */
struct routes_segment {
	struct route_config all_routes[NUM_ROUTES];
};
_Static_assert(sizeof(struct routes_segment) == 10240);

struct general_input {
	char input_name[24];
	uint64_t BE_input_activated_event;
	uint64_t BE_input_deactivated_event;
};
_Static_assert(sizeof(struct general_input) == 40);

/**
 * General events - segment 252
 */
struct general_events_segment {
	uint64_t BE_gates_active_event;
	uint64_t BE_gates_inactive_event;
	uint64_t BE_manual_gates_activate_event;
	struct general_input inputs[8];
};
_Static_assert(sizeof(struct general_events_segment) == 344);

/**
 * General config - segment 250
 */
struct general_config_segment {
	uint8_t timeout;
	uint8_t bell_behavior;
	uint16_t bell_ring_time;
	uint8_t external_gpio_expander;
	uint8_t res1;
	uint8_t res2;
	uint8_t res3;
	uint32_t reserved[12];

	// Hidden configuration values
	uint64_t base_event_id;
};
_Static_assert(sizeof(struct general_config_segment) == 64);
#define SIZEOF_GENERAL_CONFIG (5)


struct pwm_output_config{
	uint8_t usage;
	uint8_t polarity;
	uint8_t output1_usage;
	uint8_t output2_usage;
	uint16_t BE_servo1_up_position;
	uint16_t BE_servo1_down_position;
	uint16_t BE_servo2_up_position;
	uint16_t BE_servo2_down_position;
	uint8_t servo_speed;
	uint8_t reserved[19];
};
_Static_assert(sizeof(struct pwm_output_config) == 32);

/**
 * PWM configuration - segment 249
 */
struct pwm_output_segment {
	struct pwm_output_config pwm_configs[3];
};
_Static_assert(sizeof(struct pwm_output_segment) == 32 * 3);

struct pwm_bank{
	struct device* led_pwm;
	struct pwm_dt_spec servo_ch[2];
	struct pwm_output_config* config;

	// Servo related information
	struct k_timer servo_timer;
	int servo_direction;
	uint16_t servo1_step;
	uint16_t servo2_step;
	uint16_t servo1_current_pos;
	uint16_t servo2_current_pos;
};

/**
 * Holds the global instance data for the crossing gate controller
 */
struct crossing_gate{
	enum GateFlashState gate_flash_state;
	struct route crossing_routes[NUM_ROUTES];
	struct lcc_context* lcc_ctx;

	// The specific IO on the board
	const struct gpio_dt_spec inputs[8];
	const struct tortoise tortoise_control[2];
	struct bell bell;
	struct pwm_bank pwm_banks[3];

	const struct gpio_dt_spec tortoise_power;
	const struct gpio_dt_spec power_5v;
	const struct gpio_dt_spec ext_i2c_enable;

	// Buttons
	const struct gpio_dt_spec blue_button;
	const struct gpio_dt_spec gold_button;

	// Button press tracking
	uint32_t blue_button_press;
	uint32_t blue_button_press_diff;
	uint32_t gold_button_press;
	uint32_t gold_button_press_diff;
	enum ConfigMode config_mode;
	uint8_t gridconnect_mode;
	struct lcc_gridconnect* gridconnect;

	int pin_changemsgq_buffer[10];
	struct k_msgq pin_change_msgq;

	// Segment 250
	struct general_config_segment general_config;
	// Segment 251
	struct node_info_segment node_info;
	// Segment 252
	struct general_events_segment general_events;
	// Segment 253
	struct routes_segment routes_config;
	//Segmetn 249
	struct pwm_output_segment pwm_config;

	struct configuration_flusher config_flusher;

	const struct gpio_dt_spec external_inputs[16];

	struct k_timer bell_disable_timer;
};

extern struct crossing_gate crossing_gate_state;

/**
 * Call this method whenever data should be processed(e.g. an input changes).
 * This should also be called periodically to update the internal state.
 */
void crossing_gate_update();

/**
 * Call this method when an event comes in.
 */
void crossing_gate_incoming_event(uint64_t event_id);

void crossing_gate_raise_arms();

void crossing_gate_lower_arms();

void crossing_gate_timer_expired(struct k_timer* timer_id);
void crossing_gate_reactivation_expired(struct k_timer* timer_id);
void crossing_gate_servo_timer_expired(struct k_timer* timer_id);
void crossing_gate_bell_timer_expired(struct k_timer* timer_id);

#endif /* LCC_CROSSING_GATE_SRC_CROSSING_GATE_H_ */
```
